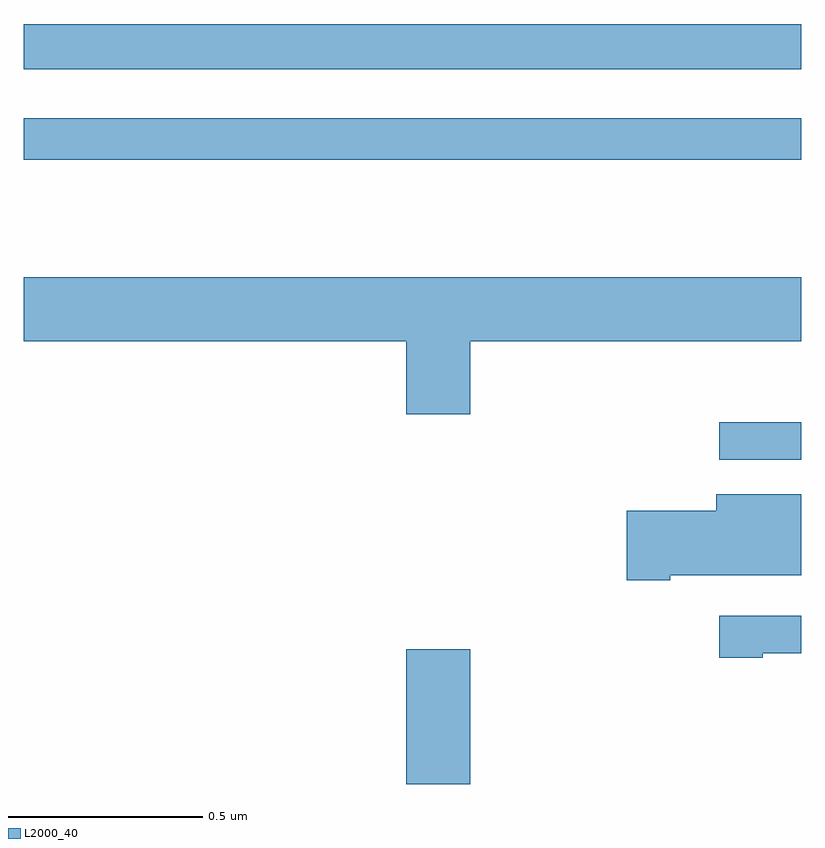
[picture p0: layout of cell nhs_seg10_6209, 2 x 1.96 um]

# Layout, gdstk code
import gdstk
lib = gdstk.Library(unit=1e-6, precision=1e-09)
def R(c, l, rs):  # rectangles x0, y0, x1, y1
    for r in rs: c.add(gdstk.rectangle(r[:2], r[2:], *l))
def P(c, l, *ps):  # polygons
    for p in ps: c.add(gdstk.Polygon(p, *l))
L2000_40 = (2000, 40)

nhs_seg10_6209 = lib.new_cell('nhs_seg10_6209')
R(nhs_seg10_6209, L2000_40, [(188.984,1308.5,189.148,1308.847), (189.789,1309.335,190,1309.431), (188,1310.106,190,1310.214), (188,1310.34,190,1310.456)])
P(nhs_seg10_6209, L2000_40, [(189.148,1309.64),(190,1309.64),(190,1309.804),(188,1309.804),(188,1309.64),(188.984,1309.64),(188.984,1309.452),(189.148,1309.452)],
  [(189.664,1309.037),(190,1309.037),(190,1309.246),(189.782,1309.246),(189.782,1309.203),(189.552,1309.203),(189.552,1309.025),(189.664,1309.025)],
  [(189.901,1308.837),(190,1308.837),(190,1308.933),(189.789,1308.933),(189.789,1308.825),(189.901,1308.825)])

lib.write_gds('nhs_seg10_6209.gds')
